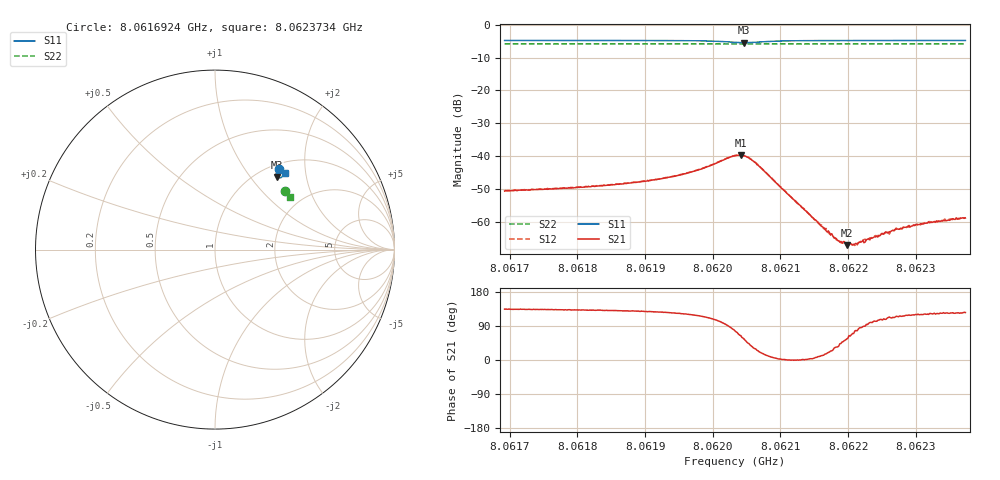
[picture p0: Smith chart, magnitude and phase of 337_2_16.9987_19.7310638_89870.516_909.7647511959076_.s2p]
#  HZ  S  RI  R  50.00
! Rohde & Schwarz Vector Network Analyzer
! Rohde-Schwarz,ZNB20-2Port,1311601062101988,3.16
! Created: UTC 3/20/2024, 11:07:10 PM
! freq[Hz]  re:S11  im:S11  re:S21  im:S21  re:S12  im:S12  re:S22  im:S22
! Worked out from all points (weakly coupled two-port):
!   401 points, 8.0616924 GHz to 8.0623734 GHz, reference 50 ohm
!   highest |S21| = -39.65 dB at 8.0620414 GHz (marker M1); lowest = -67.1 dB at 8.062198 GHz (marker M2)
!   lowest |S11| = -5.5 dB at 8.0620465 GHz (marker M3), VSWR 3.28, Z = 60.6 + j68.4 ohm
!   |S11| at or under -10 dB: nowhere
!   |S22| runs from -5.9 to -5.8 dB; largest |S21 - S12| = 0.00083
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8.06169238e9  0.358 0.4511  -0.00205 0.00211  -0.00193 0.00226  0.3913 0.3292
8.06180645e9  0.3658 0.4445  -0.00225 0.00249  -0.00214 0.00268  0.3957 0.3234
8.06186263e9  0.3699 0.4406  -0.00241 0.00288  -0.00229 0.00301  0.398 0.3207
8.06192052e9  0.3746 0.435  -0.00265 0.00359  -0.00248 0.00374  0.4 0.3177
8.0619767e9  0.3793 0.4246  -0.00279 0.00539  -0.00251 0.00563  0.4021 0.3146
8.06203289e9  0.3621 0.3995  0.00238 0.00991  0.00298 0.00985  0.403 0.311
8.0620414e9  0.3519 0.4008  0.00452 0.00937  0.00524 0.00896  0.4028 0.3109
8.06204651e9  0.3461 0.4043  0.00582 0.0083  0.00632 0.00789  0.4028 0.3109
8.06205672e9  0.3399 0.4157  0.00709 0.00538  0.00742 0.005  0.403 0.311
8.06206864e9  0.3415 0.4278  0.00652 0.00259  0.00673 0.00219  0.4036 0.3108
8.06214696e9  0.3683 0.4384  0.00117 6.19e-05  0.00118 3.74e-05  0.4078 0.3073
8.06218271e9  0.3735 0.4362  0.000458 0.000312  0.000458 0.000267  0.4091 0.3055
8.06218782e9  0.3741 0.4359  0.000362 0.000335  0.00039 0.0003  0.4094 0.3052
8.06219804e9  0.3753 0.4352  0.00025 0.000363  0.000268 0.00038  0.4098 0.3048
8.06220995e9  0.3766 0.4344  0.000107 0.000444  0.000151 0.000409  0.4101 0.304
8.06222187e9  0.3778 0.4337  1.57e-05 0.000519  5.13e-05 0.000523  0.4105 0.3034
8.06223038e9  0.3784 0.4333  -6.48e-05 0.00055  -3.57e-05 0.000546  0.4108 0.303
8.06225252e9  0.3805 0.432  -0.000208 0.000621  -0.000168 0.000624  0.4118 0.3019
8.06226103e9  0.3813 0.4314  -0.000281 0.000647  -0.000238 0.000605  0.4122 0.3013
8.06226954e9  0.3818 0.4309  -0.000301 0.000703  -0.000264 0.000716  0.4124 0.301
8.06231721e9  0.3852 0.4281  -0.000494 0.000821  -0.000444 0.000851  0.414 0.2985
8.0623734e9  0.3891 0.4252  -0.000661 0.000933  -0.000617 0.00098  0.416 0.2956
